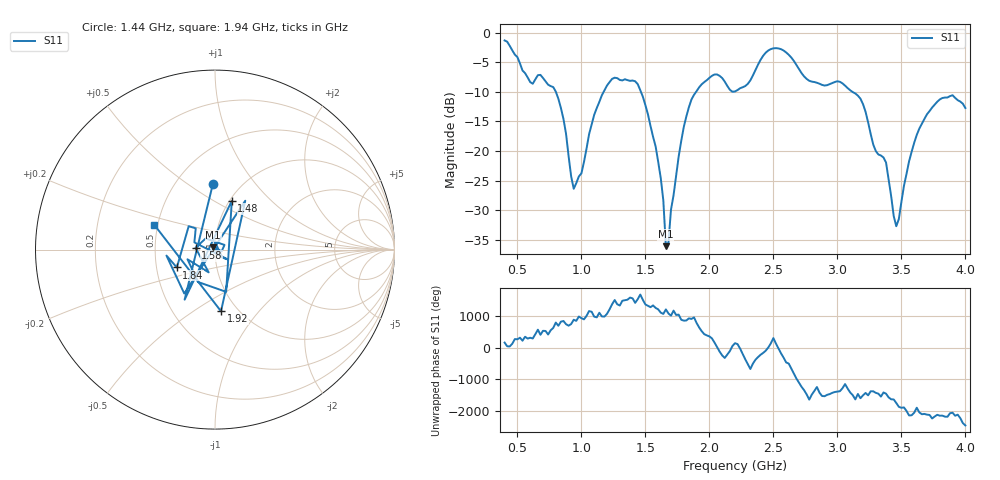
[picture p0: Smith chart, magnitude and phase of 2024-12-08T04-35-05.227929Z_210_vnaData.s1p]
!Created with skrf (http://scikit-rf.org).
# Hz S RI R 50.0
!freq ReS11 ImS11
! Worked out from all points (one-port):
!   181 points, 400 MHz to 4 GHz, reference 50 ohm
!   lowest |S11| = -36.1 dB at 1.66 GHz (marker M1), VSWR 1.03, Z = 49 + j1.21 ohm
!   |S11| at or under -10 dB: 800.4 MHz to 1.174 GHz (373.4 MHz wide, 37.8 % of centre); 1.465 GHz to 1.896 GHz (431.4 MHz wide, 25.7 % of centre); 3.117 GHz to end of sweep
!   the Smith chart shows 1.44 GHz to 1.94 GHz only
!   S11 on the Smith chart (normalised r, x): 1.44 GHz: 0.75, +0.63; 1.48 GHz: 1.02, +0.61; 1.58 GHz: 0.80, +0.02; 1.84 GHz: 0.64, -0.13; 1.92 GHz: 0.84, -0.65; 1.94 GHz: 0.48, +0.15
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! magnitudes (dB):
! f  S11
! 400 MHz  -1.3
! 600 MHz  -8.4
! 780 MHz  -9.2
! 860 MHz  -14.6
! 940 MHz  -26.4
! 1.16 GHz  -10.6
! 1.3 GHz  -8.0
! 1.44 GHz  -8.7
! 1.48 GHz  -10.8
! 1.58 GHz  -19.2
! 1.64 GHz  -28.3
! 1.66 GHz  -36.1
! 1.68 GHz  -35.5
! 1.76 GHz  -20.9
! 1.84 GHz  -12.6
! 1.92 GHz  -9.2
! 1.94 GHz  -8.7
! 2.06 GHz  -7.1
! 2.2 GHz  -9.9
! 2.48 GHz  -2.8
! 2.66 GHz  -4.8
! 3.1 GHz  -9.7
! 3.18 GHz  -11.2
! 3.38 GHz  -21.9
! 3.46 GHz  -32.7
! 3.56 GHz  -21.7
! 3.78 GHz  -11.7
! 4 GHz  -12.7
